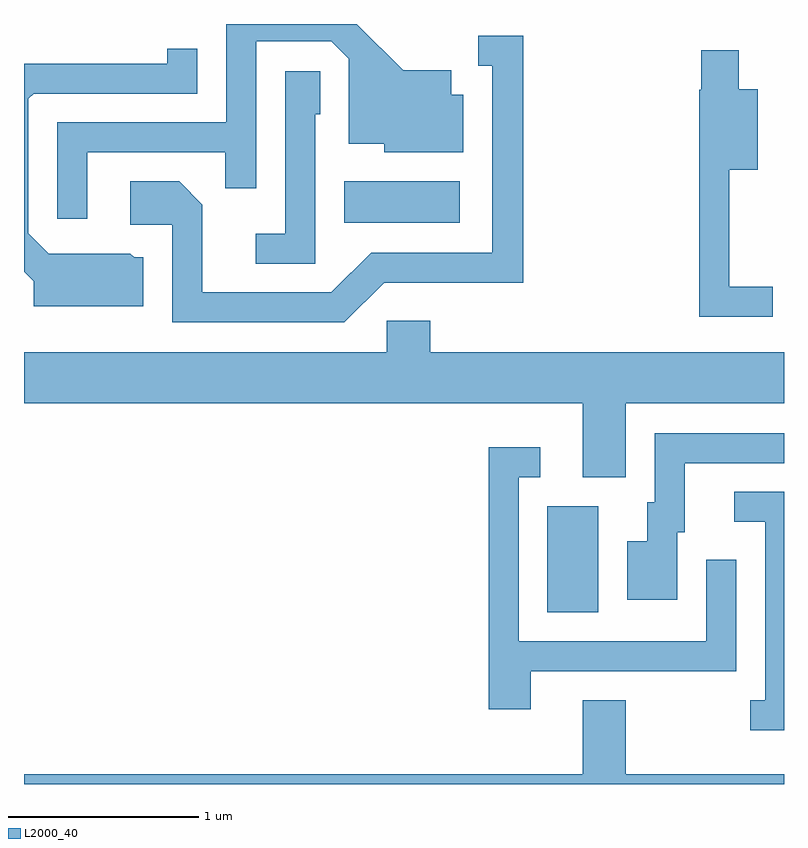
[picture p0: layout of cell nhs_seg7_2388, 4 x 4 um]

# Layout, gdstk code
import gdstk
lib = gdstk.Library(unit=1e-6, precision=1e-09)
def R(c, l, rs):  # rectangles x0, y0, x1, y1
    for r in rs: c.add(gdstk.rectangle(r[:2], r[2:], *l))
def P(c, l, *ps):  # polygons
    for p in ps: c.add(gdstk.Polygon(p, *l))
L2000_40 = (2000, 40)

nhs_seg7_2388 = lib.new_cell('nhs_seg7_2388')
R(nhs_seg7_2388, L2000_40, [(260.366,1773.156,260.634,1773.714), (259.296,1775.206,259.904,1775.424)])
P(nhs_seg7_2388, L2000_40, [(257.944,1775.576),(258.671,1775.576),(258.671,1775.388),(258.834,1775.388),(258.834,1776.161),(259.229,1776.161),(259.321,1776.069),(259.321,1775.621),(259.506,1775.621),(259.506,1775.576),(259.924,1775.576),(259.924,1775.879),(259.859,1775.879),(259.859,1776.009),(259.606,1776.009),(259.363,1776.252),(258.676,1776.252),(258.676,1775.734),(257.786,1775.734),(257.786,1775.228),(257.944,1775.228)],
  [(259.507,1774.891),(260.239,1774.891),(260.239,1776.189),(260.003,1776.189),(260.003,1776.031),(260.076,1776.031),(260.076,1775.049),(259.439,1775.049),(259.229,1774.839),(258.549,1774.839),(258.549,1775.302),(258.427,1775.424),(258.171,1775.424),(258.171,1775.196),(258.391,1775.196),(258.391,1774.681),(259.296,1774.681)],
  [(258.239,1775.024),(258.192,1775.024),(258.171,1775.044),(257.742,1775.044),(257.634,1775.152),(257.634,1775.859),(257.662,1775.886),(258.524,1775.886),(258.524,1776.123),(258.366,1776.123),(258.366,1776.044),(257.611,1776.044),(257.611,1774.949),(257.661,1774.899),(257.661,1774.766),(258.239,1774.766)],
  [(261.553,1774.869),(261.324,1774.869),(261.324,1775.486),(261.474,1775.486),(261.474,1775.909),(261.374,1775.909),(261.374,1776.114),(261.176,1776.114),(261.176,1775.905),(261.166,1775.905),(261.166,1774.711),(261.553,1774.711)],
  [(259.144,1775.776),(259.169,1775.776),(259.169,1776.004),(258.986,1776.004),(258.986,1775.149),(258.832,1775.149),(258.832,1774.991),(259.144,1774.991)],
  [(260.779,1774.256),(261.611,1774.256),(261.611,1774.524),(259.749,1774.524),(259.749,1774.689),(259.521,1774.689),(259.521,1774.524),(257.611,1774.524),(257.611,1774.256),(260.551,1774.256),(260.551,1773.866),(260.779,1773.866)],
  [(261.049,1773.576),(261.089,1773.576),(261.089,1773.941),(261.611,1773.941),(261.611,1774.099),(260.931,1774.099),(260.931,1773.734),(260.891,1773.734),(260.891,1773.529),(260.786,1773.529),(260.786,1773.221),(261.049,1773.221)],
  [(260.279,1772.846),(261.359,1772.846),(261.359,1773.433),(261.201,1773.433),(261.201,1773.004),(260.214,1773.004),(260.214,1773.866),(260.328,1773.866),(260.328,1774.024),(260.056,1774.024),(260.056,1772.646),(260.279,1772.646)],
  [(261.611,1773.789),(261.348,1773.789),(261.348,1773.631),(261.511,1773.631),(261.511,1772.694),(261.433,1772.694),(261.433,1772.536),(261.611,1772.536)],
  [(261.611,1772.304),(260.779,1772.304),(260.779,1772.694),(260.551,1772.694),(260.551,1772.304),(257.611,1772.304),(257.611,1772.252),(261.611,1772.252)])

lib.write_gds('nhs_seg7_2388.gds')
